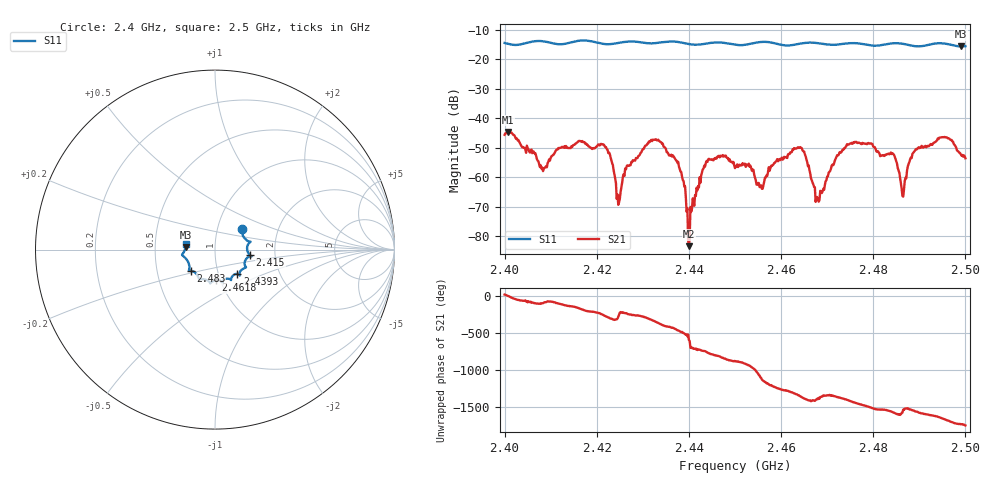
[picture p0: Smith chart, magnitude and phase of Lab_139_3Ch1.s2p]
# Hz S RI R 50
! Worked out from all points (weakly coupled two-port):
!   601 points, 2.4 GHz to 2.5 GHz, reference 50 ohm
!   highest |S21| = -44.65 dB at 2.4007 GHz (marker M1); lowest = -83.4 dB at 2.44 GHz (marker M2)
!   lowest |S11| = -15.7 dB at 2.499 GHz (marker M3), VSWR 1.39, Z = 36 + j1.13 ohm
!   |S11| at or under -10 dB: start of sweep to end of sweep
!   S12 and S22 are empty: the file has one direction only
!   S11 on the Smith chart (normalised r, x): 2.4 GHz: 1.31, +0.31; 2.415 GHz: 1.48, -0.10; 2.4393 GHz: 1.23, -0.35; 2.4618 GHz: 0.95, -0.34; 2.483 GHz: 0.74, -0.18; 2.5 GHz: 0.72, +0.05
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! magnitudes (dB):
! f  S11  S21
! 2.4 GHz  -14.5  -45.6
! 2.4007 GHz  -14.8  -44.6
! 2.4082 GHz  -13.9  -56.7
! 2.415 GHz  -14.1  -49.1
! 2.4167 GHz  -13.7  -47.9
! 2.4218 GHz  -14.9  -49.8
! 2.4248 GHz  -14.5  -68.5
! 2.4333 GHz  -14.4  -47.3
! 2.4393 GHz  -14.7  -66.9
! 2.44 GHz  -14.9  -83.4
! 2.4438 GHz  -14.7  -54.5
! 2.45 GHz  -15.1  -56.9
! 2.4557 GHz  -14.2  -62.7
! 2.4618 GHz  -15.3  -52.2
! 2.4667 GHz  -14.4  -61.1
! 2.4748 GHz  -14.6  -48.8
! 2.483 GHz  -14.9  -52.1
! 2.4833 GHz  -14.8  -52.0
! 2.4863 GHz  -14.8  -66.4
! 2.4897 GHz  -15.7  -50.2
! 2.499 GHz  -15.7  -52.3
! 2.5 GHz  -15.6  -53.6
